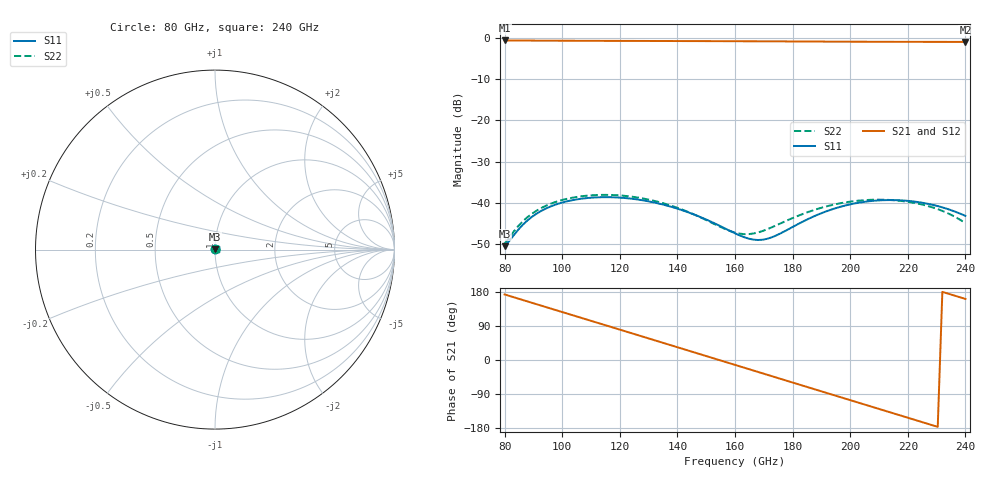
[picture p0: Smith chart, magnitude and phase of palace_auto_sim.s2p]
#  GHZ S DB R 50
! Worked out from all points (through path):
!   101 points, 80 GHz to 240 GHz, reference 50 ohm
!   highest |S21| = -0.64 dB at 80 GHz (marker M1); lowest = -1.0 dB at 240 GHz (marker M2)
!   group delay of S21, straight-line fit = 6.46 ps
!   lowest |S11| = -50.4 dB at 80 GHz (marker M3), VSWR 1.01, Z = 50.1 + j0.267 ohm
!   |S11| at or under -10 dB: start of sweep to end of sweep
!   |S22| runs from -49.8 to -38.0 dB; largest |S21 - S12| = 1.1e-14
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80  -50.42 62.0  -0.64 173.0  -0.64 173.0  -49.82 53.0
86.4  -45.18 4.2  -0.66 158.1  -0.66 158.1  -44.35 1.3
91.2  -42.50 -18.0  -0.68 147.0  -0.68 147.0  -41.78 -19.6
99.2  -40.02 -46.3  -0.70 128.4  -0.70 128.4  -39.40 -47.1
107.2  -38.89 -71.7  -0.72 109.9  -0.72 109.9  -38.30 -72.0
113.6  -38.57 -92.1  -0.74 95.0  -0.74 95.0  -38.01 -91.9
120  -38.67 -113.3  -0.75 80.2  -0.75 80.2  -38.14 -112.7
126.4  -39.15 -135.8  -0.76 65.3  -0.76 65.3  -38.67 -134.7
134.4  -40.24 -166.1  -0.77 46.7  -0.77 46.7  -39.89 -164.5
147.2  -43.15 138.3  -0.80 16.9  -0.80 16.9  -43.19 138.8
153.6  -45.13 105.1  -0.81 2.0  -0.81 2.0  -45.32 102.7
160  -47.30 65.2  -0.83 -12.9  -0.83 -12.9  -47.13 57.6
166.4  -48.84 15.2  -0.84 -27.8  -0.84 -27.8  -47.36 6.2
171.2  -48.63 -25.9  -0.85 -39.0  -0.85 -39.0  -46.32 -29.7
179.2  -46.08 -84.3  -0.88 -57.6  -0.88 -57.6  -43.86 -78.5
187.2  -43.26 -127.8  -0.90 -76.2  -0.90 -76.2  -41.72 -117.6
193.6  -41.53 -156.5  -0.92 -91.1  -0.92 -91.1  -40.47 -145.0
200  -40.30 177.8  -0.94 -105.9  -0.94 -105.9  -39.64 -170.1
206.4  -39.56 154.2  -0.95 -120.8  -0.95 -120.8  -39.22 166.5
214.4  -39.26 126.4  -0.97 -139.3  -0.97 -139.3  -39.27 139.0
227.2  -40.19 82.9  -0.98 -169.0  -0.98 -169.0  -40.75 96.3
240  -43.07 30.1  -0.99 161.2  -0.99 161.2  -44.85 44.1
